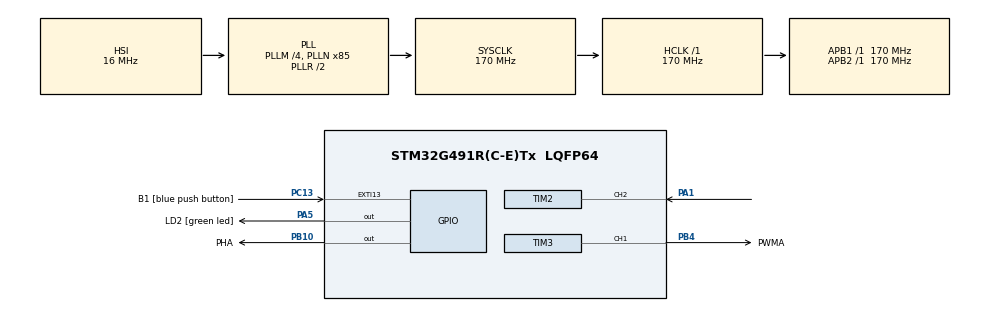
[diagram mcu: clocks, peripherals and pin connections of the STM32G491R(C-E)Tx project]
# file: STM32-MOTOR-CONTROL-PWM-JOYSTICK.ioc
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Mcu.Family=STM32G4
Mcu.Name=STM32G491R(C-E)Tx
Mcu.Package=LQFP64
NVIC.EXTI15_10_IRQn=true\:0\:0\:false\:false\:true\:true\:true\:true
NVIC.PriorityGroup=NVIC_PRIORITYGROUP_4
NVIC.TIM2_IRQn=true\:0\:0\:false\:false\:true\:true\:true\:true
PA1.Signal=S_TIM2_CH2
PA13.GPIO_Label=T_SWDIO
PA13.Signal=SYS_JTMS-SWDIO
PA14.GPIO_Label=T_SWCLK
PA14.Signal=SYS_JTCK-SWCLK
PA2.GPIO_Label=LPUART1_TX [STLINKV3E_VCP_RX]
PA2.Signal=LPUART1_TX
PA3.GPIO_Label=LPUART1_RX [STLINKV3E_VCP_TX]
PA3.Signal=LPUART1_RX
PA5.GPIO_Label=LD2 [green led]
PA5.Signal=GPIO_Output
PB10.GPIO_Label=PHA
PB10.Signal=GPIO_Output
PB3.GPIO_Label=T_SWO
PB3.Signal=SYS_JTDO-SWO
PB4.GPIO_Label=PWMA
PB4.Signal=S_TIM3_CH1
PC13.GPIO_Label=B1 [blue push button]
PC13.Signal=GPXTI13
PC14-OSC32_IN.GPIO_Label=RCC_OSC32_IN
PC14-OSC32_IN.Signal=RCC_OSC32_IN
PC15-OSC32_OUT.GPIO_Label=RCC_OSC32_OUT
PC15-OSC32_OUT.Signal=RCC_OSC32_OUT
PF0-OSC_IN.GPIO_Label=RCC_OSC_IN
PF0-OSC_IN.Signal=RCC_OSC_IN
PF1-OSC_OUT.GPIO_Label=RCC_OSC_OUT
PF1-OSC_OUT.Signal=RCC_OSC_OUT
ProjectManager.HeapSize=0x200
ProjectManager.StackSize=0x400
ProjectManager.TargetToolchain=STM32CubeIDE
RCC.ADC12Freq_Value=170000000
RCC.ADC345Freq_Value=170000000
RCC.AHBFreq_Value=170000000
RCC.APB1Freq_Value=170000000
RCC.APB1TimFreq_Value=170000000
RCC.APB2Freq_Value=170000000
RCC.APB2TimFreq_Value=170000000
RCC.CortexFreq_Value=170000000
RCC.EXTERNAL_CLOCK_VALUE=12288000
RCC.HCLKFreq_Value=170000000
RCC.HSE_VALUE=24000000
RCC.HSI48_VALUE=48000000
RCC.HSI_VALUE=16000000
RCC.LSE_VALUE=32768
RCC.PLLM=RCC_PLLM_DIV4
RCC.PLLN=85
RCC.RTCClockSelection=RCC_RTCCLKSOURCE_LSE
RCC.SYSCLKFreq_VALUE=170000000
RCC.SYSCLKSource=RCC_SYSCLKSOURCE_PLLCLK
RCC.USBFreq_Value=48000000
RCC.VCOOutputFreq_Value=340000000
SH.S_TIM2_CH2.0=TIM2_CH2,Input_Capture2_from_TI2
SH.S_TIM3_CH1.0=TIM3_CH1,PWM Generation1 CH1
TIM2.Channel-Input_Capture2_from_TI2=TIM_CHANNEL_2
TIM2.ICPolarity_CH2=TIM_INPUTCHANNELPOLARITY_BOTHEDGE
TIM2.Prescaler=169
TIM3.Channel-PWM\ Generation1\ CH1=TIM_CHANNEL_1
TIM3.PeriodNoDither=999
TIM3.Prescaler=169
VP_SYS_VS_DBSignals.Mode=DisableDeadBatterySignals
VP_TIM2_VS_ClockSourceINT.Mode=Internal
VP_TIM3_VS_ClockSourceINT.Mode=Internal
board=NUCLEO-G491RE

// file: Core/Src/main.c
/* USER CODE BEGIN Header */
/**
  ******************************************************************************
  * @file           : main.c
  * @brief          : Main program body
  ******************************************************************************
  * @attention
  *
  * Copyright (c) 2025 STMicroelectronics.
  * All rights reserved.
  *
  * This software is licensed under terms that can be found in the LICENSE file
  * in the root directory of this software component.
  * If no LICENSE file comes with this software, it is provided AS-IS.
  *
  ******************************************************************************
  */
/* USER CODE END Header */
#include "main.h"

TIM_HandleTypeDef htim2;
TIM_HandleTypeDef htim3;

void SystemClock_Config(void);
static void MX_GPIO_Init(void);
static void MX_TIM3_Init(void);
static void MX_TIM2_Init(void);

/* USER CODE BEGIN 0 */
int32_t ch1_duty;
void HAL_TIM_IC_CaptureCallback(TIM_HandleTypeDef *htim)
{
	static int32_t ch1_last;
	int32_t ch1;
    if(htim ->Channel == HAL_TIM_ACTIVE_CHANNEL_2)
    {
        ch1 = HAL_TIM_ReadCapturedValue(htim, TIM_CHANNEL_2);
        if(ch1 > ch1_last && ch1 - ch1_last < 5000)
        {
        	ch1_duty = ch1 - ch1_last - 1000;
        	if(ch1_duty < 0)
        	{
        		ch1_duty = 0;
        	}
        }
        ch1_last = ch1;
    }
}
/* USER CODE END 0 */

int main(void)
{

  /* MCU Configuration--------------------------------------------------------*/

  /* Reset of all peripherals, Initializes the Flash interface and the Systick. */
  HAL_Init();

  /* Configure the system clock */
  SystemClock_Config();

  /* Initialize all configured peripherals */
  MX_GPIO_Init();
  MX_TIM3_Init();
  MX_TIM2_Init();

  /* Infinite loop */
  /* USER CODE BEGIN WHILE */
  while (1)
  {
	  __HAL_TIM_SET_COMPARE(&htim3, TIM_CHANNEL_1, ch1_duty);
    /* USER CODE END WHILE */

  }
}

void SystemClock_Config(void)
{
  RCC_OscInitTypeDef RCC_OscInitStruct = {0};
  RCC_ClkInitTypeDef RCC_ClkInitStruct = {0};

  /** Configure the main internal regulator output voltage
  */
  HAL_PWREx_ControlVoltageScaling(PWR_REGULATOR_VOLTAGE_SCALE1_BOOST);

  /** Initializes the RCC Oscillators according to the specified parameters
  * in the RCC_OscInitTypeDef structure.
  */
  RCC_OscInitStruct.OscillatorType = RCC_OSCILLATORTYPE_HSI;
  RCC_OscInitStruct.HSIState = RCC_HSI_ON;
  RCC_OscInitStruct.HSICalibrationValue = RCC_HSICALIBRATION_DEFAULT;
  RCC_OscInitStruct.PLL.PLLState = RCC_PLL_ON;
  RCC_OscInitStruct.PLL.PLLSource = RCC_PLLSOURCE_HSI;
  RCC_OscInitStruct.PLL.PLLM = RCC_PLLM_DIV4;
  RCC_OscInitStruct.PLL.PLLN = 85;
  RCC_OscInitStruct.PLL.PLLP = RCC_PLLP_DIV2;
  RCC_OscInitStruct.PLL.PLLQ = RCC_PLLQ_DIV2;
  RCC_OscInitStruct.PLL.PLLR = RCC_PLLR_DIV2;
  if (HAL_RCC_OscConfig(&RCC_OscInitStruct) != HAL_OK)
  {
    Error_Handler();
  }

  /** Initializes the CPU, AHB and APB buses clocks
  */
  RCC_ClkInitStruct.ClockType = RCC_CLOCKTYPE_HCLK|RCC_CLOCKTYPE_SYSCLK
                              |RCC_CLOCKTYPE_PCLK1|RCC_CLOCKTYPE_PCLK2;
  RCC_ClkInitStruct.SYSCLKSource = RCC_SYSCLKSOURCE_PLLCLK;
  RCC_ClkInitStruct.AHBCLKDivider = RCC_SYSCLK_DIV1;
  RCC_ClkInitStruct.APB1CLKDivider = RCC_HCLK_DIV1;
  RCC_ClkInitStruct.APB2CLKDivider = RCC_HCLK_DIV1;

  if (HAL_RCC_ClockConfig(&RCC_ClkInitStruct, FLASH_LATENCY_4) != HAL_OK)
  {
    Error_Handler();
  }
}

static void MX_TIM2_Init(void)
{

  TIM_ClockConfigTypeDef sClockSourceConfig = {0};
  TIM_MasterConfigTypeDef sMasterConfig = {0};
  TIM_IC_InitTypeDef sConfigIC = {0};

  htim2.Instance = TIM2;
  htim2.Init.Prescaler = 169;
  htim2.Init.CounterMode = TIM_COUNTERMODE_UP;
  htim2.Init.Period = 4294967295;
  htim2.Init.ClockDivision = TIM_CLOCKDIVISION_DIV1;
  htim2.Init.AutoReloadPreload = TIM_AUTORELOAD_PRELOAD_DISABLE;
  if (HAL_TIM_Base_Init(&htim2) != HAL_OK)
  {
    Error_Handler();
  }
  sClockSourceConfig.ClockSource = TIM_CLOCKSOURCE_INTERNAL;
  if (HAL_TIM_ConfigClockSource(&htim2, &sClockSourceConfig) != HAL_OK)
  {
    Error_Handler();
  }
  if (HAL_TIM_IC_Init(&htim2) != HAL_OK)
  {
    Error_Handler();
  }
  sMasterConfig.MasterOutputTrigger = TIM_TRGO_RESET;
  sMasterConfig.MasterSlaveMode = TIM_MASTERSLAVEMODE_DISABLE;
  if (HAL_TIMEx_MasterConfigSynchronization(&htim2, &sMasterConfig) != HAL_OK)
  {
    Error_Handler();
  }
  sConfigIC.ICPolarity = TIM_INPUTCHANNELPOLARITY_BOTHEDGE;
  sConfigIC.ICSelection = TIM_ICSELECTION_DIRECTTI;
  sConfigIC.ICPrescaler = TIM_ICPSC_DIV1;
  sConfigIC.ICFilter = 0;
  if (HAL_TIM_IC_ConfigChannel(&htim2, &sConfigIC, TIM_CHANNEL_2) != HAL_OK)
  {
    Error_Handler();
  }
  /* USER CODE BEGIN TIM2_Init 2 */
  HAL_TIM_IC_Start_IT(&htim2, TIM_CHANNEL_2);
  /* USER CODE END TIM2_Init 2 */

}

static void MX_TIM3_Init(void)
{

  TIM_ClockConfigTypeDef sClockSourceConfig = {0};
  TIM_MasterConfigTypeDef sMasterConfig = {0};
  TIM_OC_InitTypeDef sConfigOC = {0};

  htim3.Instance = TIM3;
  htim3.Init.Prescaler = 169;
  htim3.Init.CounterMode = TIM_COUNTERMODE_UP;
  htim3.Init.Period = 999;
  htim3.Init.ClockDivision = TIM_CLOCKDIVISION_DIV1;
  htim3.Init.AutoReloadPreload = TIM_AUTORELOAD_PRELOAD_DISABLE;
  if (HAL_TIM_Base_Init(&htim3) != HAL_OK)
  {
    Error_Handler();
  }
  sClockSourceConfig.ClockSource = TIM_CLOCKSOURCE_INTERNAL;
  if (HAL_TIM_ConfigClockSource(&htim3, &sClockSourceConfig) != HAL_OK)
  {
    Error_Handler();
  }
  if (HAL_TIM_PWM_Init(&htim3) != HAL_OK)
  {
    Error_Handler();
  }
  sMasterConfig.MasterOutputTrigger = TIM_TRGO_RESET;
  sMasterConfig.MasterSlaveMode = TIM_MASTERSLAVEMODE_DISABLE;
  if (HAL_TIMEx_MasterConfigSynchronization(&htim3, &sMasterConfig) != HAL_OK)
  {
    Error_Handler();
  }
  sConfigOC.OCMode = TIM_OCMODE_PWM1;
  sConfigOC.Pulse = 0;
  sConfigOC.OCPolarity = TIM_OCPOLARITY_HIGH;
  sConfigOC.OCFastMode = TIM_OCFAST_DISABLE;
  if (HAL_TIM_PWM_ConfigChannel(&htim3, &sConfigOC, TIM_CHANNEL_1) != HAL_OK)
  {
    Error_Handler();
  }
  /* USER CODE BEGIN TIM3_Init 2 */
  HAL_TIM_Base_Start(&htim3);
  HAL_TIM_PWM_Start(&htim3, TIM_CHANNEL_1);

  /* USER CODE END TIM3_Init 2 */
  HAL_TIM_MspPostInit(&htim3);

}

static void MX_GPIO_Init(void)
{
  GPIO_InitTypeDef GPIO_InitStruct = {0};

  /* GPIO Ports Clock Enable */
  __HAL_RCC_GPIOC_CLK_ENABLE();
  __HAL_RCC_GPIOF_CLK_ENABLE();
  __HAL_RCC_GPIOA_CLK_ENABLE();
  __HAL_RCC_GPIOB_CLK_ENABLE();

  /*Configure GPIO pin Output Level */
  HAL_GPIO_WritePin(LD2_GPIO_Port, LD2_Pin, GPIO_PIN_RESET);

  /*Configure GPIO pin Output Level */
  HAL_GPIO_WritePin(PHA_GPIO_Port, PHA_Pin, GPIO_PIN_RESET);

  /*Configure GPIO pin : B1_Pin */
  GPIO_InitStruct.Pin = B1_Pin;
  GPIO_InitStruct.Mode = GPIO_MODE_IT_RISING;
  GPIO_InitStruct.Pull = GPIO_NOPULL;
  HAL_GPIO_Init(B1_GPIO_Port, &GPIO_InitStruct);

  /*Configure GPIO pins : LPUART1_TX_Pin LPUART1_RX_Pin */
  GPIO_InitStruct.Pin = LPUART1_TX_Pin|LPUART1_RX_Pin;
  GPIO_InitStruct.Mode = GPIO_MODE_AF_PP;
  GPIO_InitStruct.Pull = GPIO_NOPULL;
  GPIO_InitStruct.Speed = GPIO_SPEED_FREQ_LOW;
  GPIO_InitStruct.Alternate = GPIO_AF12_LPUART1;
  HAL_GPIO_Init(GPIOA, &GPIO_InitStruct);

  /*Configure GPIO pin : LD2_Pin */
  GPIO_InitStruct.Pin = LD2_Pin;
  GPIO_InitStruct.Mode = GPIO_MODE_OUTPUT_PP;
  GPIO_InitStruct.Pull = GPIO_NOPULL;
  GPIO_InitStruct.Speed = GPIO_SPEED_FREQ_LOW;
  HAL_GPIO_Init(LD2_GPIO_Port, &GPIO_InitStruct);

  /*Configure GPIO pin : PHA_Pin */
  GPIO_InitStruct.Pin = PHA_Pin;
  GPIO_InitStruct.Mode = GPIO_MODE_OUTPUT_PP;
  GPIO_InitStruct.Pull = GPIO_NOPULL;
  GPIO_InitStruct.Speed = GPIO_SPEED_FREQ_LOW;
  HAL_GPIO_Init(PHA_GPIO_Port, &GPIO_InitStruct);

  /* EXTI interrupt init*/
  HAL_NVIC_SetPriority(EXTI15_10_IRQn, 0, 0);
  HAL_NVIC_EnableIRQ(EXTI15_10_IRQn);

}

void Error_Handler(void)
{
  __disable_irq();
  while (1)
  {
  }
}
